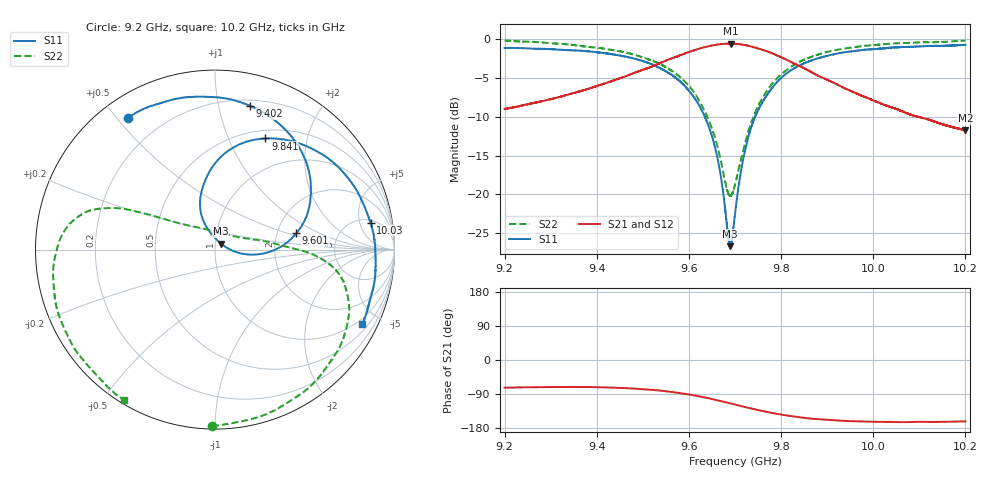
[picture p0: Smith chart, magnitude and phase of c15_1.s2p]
!Agilent Technologies,N5242A,MY51221714,A.09.90.19
!Agilent N5242A: A.09.90.19
!Date: Saturday, January 13, 2024 13:27:06
!Correction: S11(Full 2 Port(1,2))
!S21(Full 2 Port(1,2))
!S12(Full 2 Port(1,2))
!S22(Full 2 Port(1,2))
!S2P File: Measurements: S11, S21, S12, S22:
# Hz S  dB  R 50
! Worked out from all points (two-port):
!   16001 points, 9.2 GHz to 10.2 GHz, reference 50 ohm
!   highest |S21| = -0.56 dB at 9.691 GHz (marker M1); lowest = -11.7 dB at 10.2 GHz (marker M2)
!   |S21| within 3 dB of the highest: 9.517915 GHz to 9.517993 GHz (77.75 kHz wide, 0.000817 % of centre); 9.518 GHz to 9.844 GHz (325.9 MHz wide, 3.37 % of centre)
!   lowest |S11| = -26.7 dB at 9.689 GHz (marker M3), VSWR 1.10, Z = 53.3 + j3.48 ohm
!   |S11| at or under -10 dB: 9.635 GHz to 9.744 GHz (109 MHz wide, 1.13 % of centre)
!   |S22| runs from -20.3 to -0.2 dB; largest |S21 - S12| = 0.035
!   S11 on the Smith chart (normalised r, x): 9.2 GHz: 0.08, +0.54; 9.402 GHz: 0.25, +1.24; 9.601 GHz: 2.55, +0.59; 9.841 GHz: 0.60, +1.37; 10.03 GHz: 5.61, +7.44; 10.2 GHz: 0.75, -4.04
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9.2e9  -1.12 123.4  -8.99 -73.2  -8.96 -75.1  -0.15 -91.0
9.274375e9  -1.23 106.9  -8.08 -71.7  -8.04 -73.4  -0.38 -70.9
9.366688e9  -1.49 85.2  -6.66 -71.2  -6.62 -73.1  -0.88 -47.0
9.4015e9  -1.69 76.2  -6.01 -71.8  -5.98 -73.6  -1.09 -38.3
9.533375e9  -3.60 36.6  -3.17 -80.2  -3.14 -81.9  -3.09 -10.9
9.601125e9  -6.72 11.3  -1.64 -91.1  -1.60 -93.1  -6.09 -1.1
9.65375e9  -13.27 -7.3  -0.77 -104.0  -0.75 -105.8  -12.14 12.4
9.6685e9  -17.44 -7.6  -0.63 -108.1  -0.61 -110.0  -15.47 22.8
9.688875e9  -26.67 44.6  -0.57 -114.2  -0.53 -116.1  -20.17 72.5
9.691188e9  -26.47 60.1  -0.56 -114.9  -0.53 -116.8  -20.11 80.6
9.7e9  -22.53 96.5  -0.58 -117.6  -0.55 -119.6  -18.76 107.1
9.720125e9  -14.79 111.5  -0.72 -123.7  -0.69 -125.8  -13.76 138.5
9.744875e9  -9.83 103.9  -1.09 -130.7  -1.06 -132.8  -9.29 149.4
9.795938e9  -5.23 83.2  -2.20 -143.2  -2.21 -145.2  -4.77 156.5
9.840938e9  -3.36 65.6  -3.47 -151.1  -3.47 -153.1  -2.88 162.0
9.866688e9  -2.72 56.5  -4.27 -154.9  -4.25 -156.7  -2.24 165.5
9.944125e9  -1.61 32.6  -6.47 -161.0  -6.47 -163.0  -1.14 178.8
1.003188e10  -1.12 9.8  -8.62 -163.4  -8.60 -165.4  -0.59 -162.2
1.003338e10  -1.12 9.4  -8.65 -163.5  -8.63 -165.5  -0.58 -161.9
1.0108e10  -0.91 -7.4  -10.16 -163.3  -10.15 -165.3  -0.37 -144.3
1.019994e10  -0.73 -26.9  -11.73 -162.0  -11.72 -164.2  -0.19 -121.2
1.02e10  -0.73 -26.9  -11.73 -161.9  -11.72 -164.2  -0.19 -121.2
